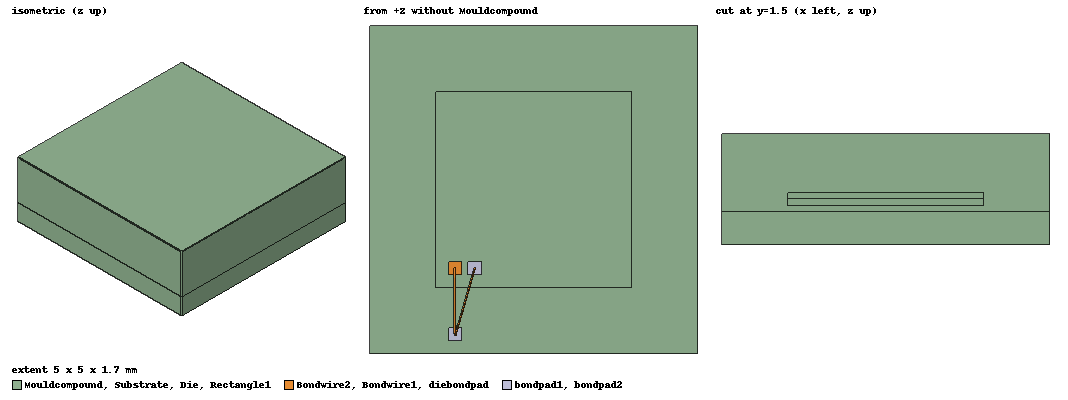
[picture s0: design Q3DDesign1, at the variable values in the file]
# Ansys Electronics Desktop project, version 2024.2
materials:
  vacuum: permittivity=1
  copper: permeability=0.999991 conductivity=58000000
  silicon: permittivity=11.9
  FR4_epoxy: permittivity=4.4 dielectric_loss_tangent=0.02
  epoxy_Kevlar_xy: permittivity=3.6
  modified_epoxy: permittivity=4.2 dielectric_loss_tangent=0.02
  gold: permeability=0.99996 conductivity=41000000

design Q3DDesign1 (Q3D Extractor, model units mm)
options: SParamCalcMethod=EqTransLine Calculate_Lossy_Dielectrics
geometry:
  Die [silicon] = rectangle(corner=(0mm, 0mm, 0mm), x_size=3mm, y_size=3mm)
  Die.thicken(0.2mm)
  Substrate [FR4_epoxy] = rectangle(corner=(-1mm, -1mm, -0.1mm), x_size=5mm, y_size=5mm)
  Substrate.thicken(-0.5mm)
  Rectangle1 [modified_epoxy] = rectangle(corner=(0mm, 0mm, 0.2mm), x_size=3mm, y_size=3mm)
  Rectangle1.thicken(-0.1mm)
  diebondpad [copper] = rectangle(corner=(0.2mm, 0.2mm, 0.2mm), x_size=0.2mm, y_size=0.2mm)
  diebondpad.thicken(0.005mm)
  bondpad1 [copper] = rectangle(corner=(0.2mm, -0.8mm, -0.1mm), x_size=0.2mm, y_size=0.2mm)
  Bondwire1 [gold] = bondwire(WireType=JEDEC_4Points WireDiameter=0.025mm NumSides=6 XPadPos=0.3mm YPadPos=0.3mm ZPadPos=0.205mm XDir=-5.5511151e-17mm YDir=-1mm ZDir=0mm Distance=1mm h1=0.2mm h2=0.305mm alpha=80deg beta=5deg WhichAxis=Z)
  bondpad2 [copper] = rectangle(corner=(0.5mm, 0.2mm, 0.2mm), x_size=0.2mm, y_size=0.2mm)
  Bondwire2 [gold] = bondwire(WireType=JEDEC_4Points WireDiameter=0.025mm NumSides=6 XPadPos=0.6mm YPadPos=0.3mm ZPadPos=0.2mm XDir=-0.29375mm YDir=-1.0216565mm ZDir=0mm Distance=1.063048mm h1=0.2mm h2=0.3mm alpha=80deg beta=5deg WhichAxis=Z)
  Mouldcompound [epoxy_Kevlar_xy] = rectangle(corner=(-1mm, -1mm, -0.1mm), x_size=5mm, y_size=5mm)
  Mouldcompound.thicken(1.2mm)
